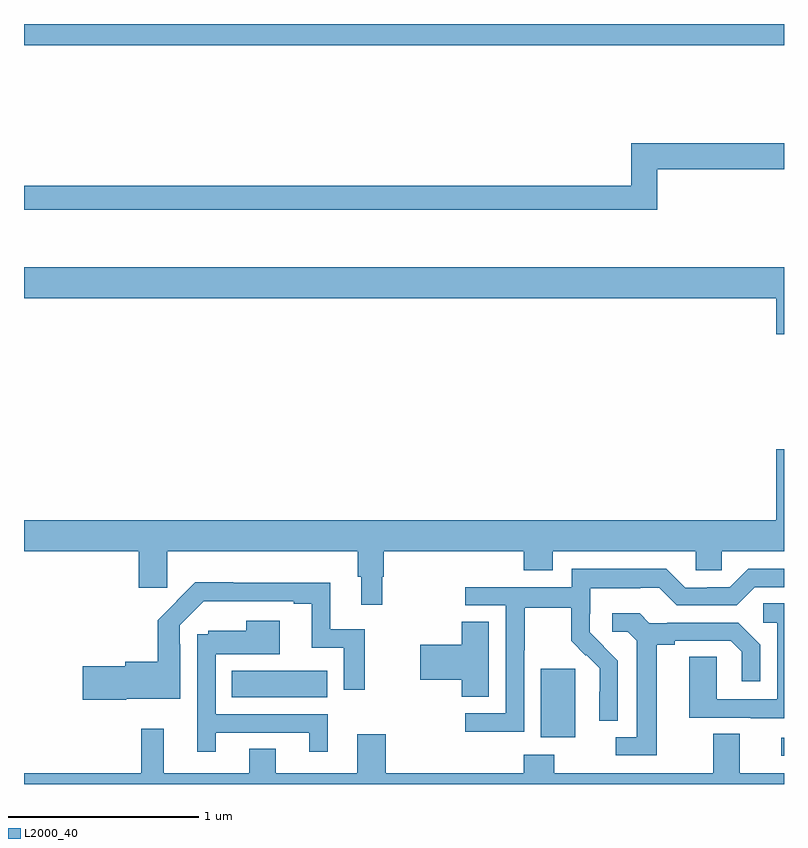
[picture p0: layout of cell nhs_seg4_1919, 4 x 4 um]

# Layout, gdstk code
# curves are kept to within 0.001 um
import gdstk
lib = gdstk.Library(unit=1e-6, precision=1e-09)
def R(c, l, rs):  # rectangles x0, y0, x1, y1
    for r in rs: c.add(gdstk.rectangle(r[:2], r[2:], *l))
def P(c, l, *ps):  # polygons
    for p in ps: c.add(gdstk.Polygon(p, *l))
L2000_40 = (2000, 40)

nhs_seg4_1919 = lib.new_cell('nhs_seg4_1919')
R(nhs_seg4_1919, L2000_40, [(212.985,825.048,213,825.144), (211.721,825.146,211.9,825.507), (210.094,825.356,210.595,825.496), (209,828.788,213,828.9)])
P(nhs_seg4_1919, L2000_40, [(212.333,828.136),(213,828.136),(213,828.272),(212.197,828.272),(212.197,828.05),(209,828.05),(209,827.922),(212.333,827.922)],
  [(213,827.62),(209,827.62),(209,827.456),(212.96,827.456),(212.96,827.268),(213,827.268)],
  [(210.886,825.992),(210.893,825.992),(210.893,826.124),(211.631,826.124),(211.631,826.025),(211.783,826.025),(211.783,826.124),(212.535,826.124),(212.535,826.026),(212.673,826.026),(212.673,826.124),(213,826.124),(213,826.663),(212.96,826.663),(212.96,826.288),(209,826.288),(209,826.124),(209.603,826.124),(209.603,825.933),(209.753,825.933),(209.753,826.124),(210.757,826.124),(210.757,825.992),(210.776,825.992),(210.776,825.843),(210.886,825.843)],
  [(211.632,825.604),(211.635,825.604),(211.635,825.828),(211.879,825.828),(211.879,825.653),(211.956,825.576),(211.959,825.579),(212.03,825.509),(212.03,825.386),(212.028,825.386),(212.028,825.232),(212.124,825.232),(212.124,825.55),(211.978,825.698),(211.978,825.795),(211.98,825.795),(211.98,825.929),(212.243,825.929),(212.243,825.933),(212.343,825.933),(212.436,825.84),(212.751,825.84),(212.847,825.936),(213,825.936),(213,826.032),(212.811,826.032),(212.715,825.936),(212.597,825.936),(212.597,825.933),(212.481,825.933),(212.381,826.033),(211.884,826.033),(211.884,825.936),(211.323,825.936),(211.323,825.84),(211.536,825.84),(211.536,825.273),(211.323,825.273),(211.323,825.175),(211.632,825.175)],
  [(209.538,825.35),(209.823,825.35),(209.823,825.635),(209.82,825.635),(209.82,825.735),(209.946,825.861),(210.419,825.861),(210.419,825.849),(210.515,825.849),(210.515,825.618),(210.684,825.618),(210.684,825.396),(210.793,825.396),(210.793,825.714),(210.613,825.714),(210.613,825.958),(210.101,825.958),(210.101,825.961),(209.902,825.961),(209.705,825.763),(209.705,825.544),(209.534,825.544),(209.534,825.521),(209.31,825.521),(209.31,825.343),(209.538,825.343)],
  [(213,825.851),(212.892,825.851),(212.892,825.75),(212.964,825.75),(212.964,825.345),(212.646,825.345),(212.646,825.569),(212.501,825.569),(212.501,825.249),(212.825,825.249),(212.825,825.245),(213,825.245)],
  [(212.329,825.632),(212.425,825.632),(212.425,825.654),(212.72,825.654),(212.777,825.597),(212.777,825.441),(212.874,825.441),(212.874,825.634),(212.758,825.75),(212.386,825.75),(212.386,825.747),(212.292,825.747),(212.24,825.799),(212.097,825.799),(212.097,825.702),(212.178,825.702),(212.225,825.655),(212.225,825.147),(212.115,825.147),(212.115,825.051),(212.329,825.051)],
  [(210.01,825.171),(210.5,825.171),(210.5,825.069),(210.598,825.069),(210.598,825.267),(210.009,825.267),(210.009,825.584),(210.346,825.584),(210.346,825.76),(210.17,825.76),(210.17,825.706),(209.97,825.706),(209.97,825.687),(209.913,825.687),(209.913,825.069),(210.01,825.069)],
  [(211.447,825.755),(211.304,825.755),(211.304,825.632),(211.086,825.632),(211.086,825.449),(211.304,825.449),(211.304,825.358),(211.447,825.358)],
  [(213,824.956),(212.767,824.956),(212.767,825.164),(212.627,825.164),(212.627,824.956),(211.791,824.956),(211.791,825.055),(211.631,825.055),(211.631,824.956),(210.903,824.956),(210.903,825.163),(210.755,825.163),(210.755,824.956),(210.325,824.956),(210.325,825.086),(210.185,825.086),(210.185,824.956),(209.735,824.956),(209.735,825.19),(209.617,825.19),(209.617,824.956),(209,824.956),(209,824.9),(213,824.9)])

lib.write_gds('nhs_seg4_1919.gds')
